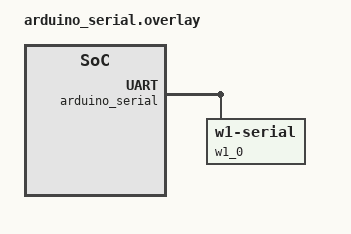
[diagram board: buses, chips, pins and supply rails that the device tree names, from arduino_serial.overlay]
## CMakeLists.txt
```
# SPDX-License-Identifier: Apache-2.0

cmake_minimum_required(VERSION 3.13.1)
find_package(Zephyr REQUIRED HINTS $ENV{ZEPHYR_BASE})
project(ds18b20)

FILE(GLOB app_sources src/*.c)
target_sources(app PRIVATE ${app_sources})
```

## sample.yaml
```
sample:
  name: DS18B20 Temperature Sensor sample
common:
  harness: console
  tags: sensors
tests:
  sample.sensor.ds18b20.w1_serial:
    platform_allow:
      - nucleo_g0b1re
      - nrf52840dk_nrf52840
      - esp32_devkitc_wroom
    integration_platforms:
      - nucleo_g0b1re
      - nrf52840dk_nrf52840
      - esp32_devkitc_wroom
    harness_config:
      type: one_line
      regex:
        - "Temp: (.*)"
      fixture: fixture_w1_serial_ds18b20
  sample.sensor.ds18b20.w1_arduino_serial:
    platform_allow: nucleo_g071rb
    depends_on: arduino_serial
    integration_platforms:
      - nucleo_g071rb
      - esp32_devkitc_wroom
    extra_args: "DTC_OVERLAY_FILE=arduino_serial.overlay"
    harness_config:
      type: one_line
      regex:
        - "Temp: (.*)"
      fixture: fixture_w1_arduino_serial_ds18b20
```

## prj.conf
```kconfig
CONFIG_SENSOR=y
CONFIG_W1=y

CONFIG_LOG=y
CONFIG_SENSOR_LOG_LEVEL_DBG=y
```

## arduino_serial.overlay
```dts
/*
 * Copyright (c) 2022, Thomas Stranger
 *
 * SPDX-License-Identifier: Apache-2.0
 */

/*
 * Example configuration of a DS18B20 device on an Arduino serial bus.
 * Requires external circuit to provide an open-drain interface.
 */

&arduino_serial {
	status = "okay";

	w1_0: w1-zephyr-serial-0 {
		compatible = "zephyr,w1-serial";
		#address-cells = <1>;
		#size-cells = <0>;
		status = "okay";

		ds18b20 {
			compatible = "maxim,ds18b20";
			family-code = <0x28>;
			resolution = <12>;
			status = "okay";
		};
	};
};
```

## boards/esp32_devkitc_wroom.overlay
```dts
/*
 * SPDX-License-Identifier: Apache-2.0
 */

 &uart1 {
	status = "okay";

	w1_0: w1-zephyr-serial-0 {
		compatible = "zephyr,w1-serial";
		#address-cells = <1>;
		#size-cells = <0>;
		status = "okay";

		ds18b20 {
			compatible = "maxim,ds18b20";
			family-code = <0x28>;
			resolution = <12>;
			status = "okay";
		};
	};
};
```

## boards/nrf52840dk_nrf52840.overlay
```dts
/*
 * Copyright (c) 2022, Thomas Stranger
 *
 * SPDX-License-Identifier: Apache-2.0
 */

/*
 * Example configuration of a DS18b20 device on an Arduino serial bus, using
 * the zephyr-serial 1-Wire driver.
 * Open drain configuration allows communication by simply connecting the bus
 * line to the UART RX pin as well as the TX pin
 * An external pull-up should be added anyways.
 */

#include "serial_overlay.dtsi"

&pinctrl {
	uart1_default: uart1_default {
		group1 {
			psels = <NRF_PSEL(UART_RX, 1, 1)>;
			bias-pull-up;
		};
		group2 {
			psels = <NRF_PSEL(UART_TX, 1, 2)>;
			/* max. 5mA drive strength: */
			nordic,drive-mode = <NRF_DRIVE_H0D1>;
		};
	};
};
```

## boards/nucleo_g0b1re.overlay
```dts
/*
 * Copyright (c) 2022, Thomas Stranger
 *
 * SPDX-License-Identifier: Apache-2.0
 */

/*
 * Example configuration of a DS18B20 device on an Arduino serial bus.
 * Open drain configuration allows communication by simply connecting the bus
 * line to:
 * a) the UART RX pin as well as the TX pin.
 * b) the UART TX pin only, while the single wire half-duplex mode is enabled.
 * An external pull-up should be added anyways.
 */

#include "serial_overlay.dtsi"

&usart1_tx_pc4 {
	drive-open-drain;
	bias-pull-up;
};
```

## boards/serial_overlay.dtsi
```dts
/*
 * Copyright (c) 2022 Thomas Stranger
 *
 * SPDX-License-Identifier: Apache-2.0
 */

&arduino_serial {
	status = "okay";

	w1_0: w1-zephyr-serial-0 {
		compatible = "zephyr,w1-serial";
		#address-cells = <1>;
		#size-cells = <0>;
		status = "okay";

		ds18b20 {
			compatible = "maxim,ds18b20";
			family-code = <0x28>;
			resolution = <12>;
			status = "okay";
		};
	};
};
```

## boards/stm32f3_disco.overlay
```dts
/*
 * SPDX-License-Identifier: Apache-2.0
 */


&uart4 {
	status = "okay";

	w1_0: w1-zephyr-serial-0 {
		compatible = "zephyr,w1-serial";
		#address-cells = <1>;
		#size-cells = <0>;
		status = "okay";

		ds18b20 {
			compatible = "maxim,ds18b20";
			family-code = <0x28>;
			resolution = <12>;
			status = "okay";
		};
	};
};
```

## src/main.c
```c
/*
 * Copyright (c) 2022 Thomas Stranger
 *
 * SPDX-License-Identifier: Apache-2.0
 */

#include <zephyr/kernel.h>
#include <zephyr/device.h>
#include <zephyr/devicetree.h>
#include <zephyr/drivers/sensor.h>

/*
 * Get a device structure from a devicetree node with compatible
 * "maxim,ds18b20". (If there are multiple, just pick one.)
 */
static const struct device *get_ds18b20_device(void)
{
	const struct device *const dev = DEVICE_DT_GET_ANY(maxim_ds18b20);

	if (dev == NULL) {
		/* No such node, or the node does not have status "okay". */
		printk("\nError: no device found.\n");
		return NULL;
	}

	if (!device_is_ready(dev)) {
		printk("\nError: Device \"%s\" is not ready; "
		       "check the driver initialization logs for errors.\n",
		       dev->name);
		return NULL;
	}

	printk("Found device \"%s\", getting sensor data\n", dev->name);
	return dev;
}

int main(void)
{
	const struct device *dev = get_ds18b20_device();
	

	if (dev == NULL) {
		return 0;
	}

	while (1) {
		struct sensor_value temp;

		sensor_sample_fetch(dev);
		sensor_channel_get(dev, SENSOR_CHAN_AMBIENT_TEMP, &temp);

		printk("Temperature: %d.%d°C\n", temp.val1, (uint8_t)temp.val2);
		k_sleep(K_MSEC(2000));
	}
	return 0;
}
	
```
